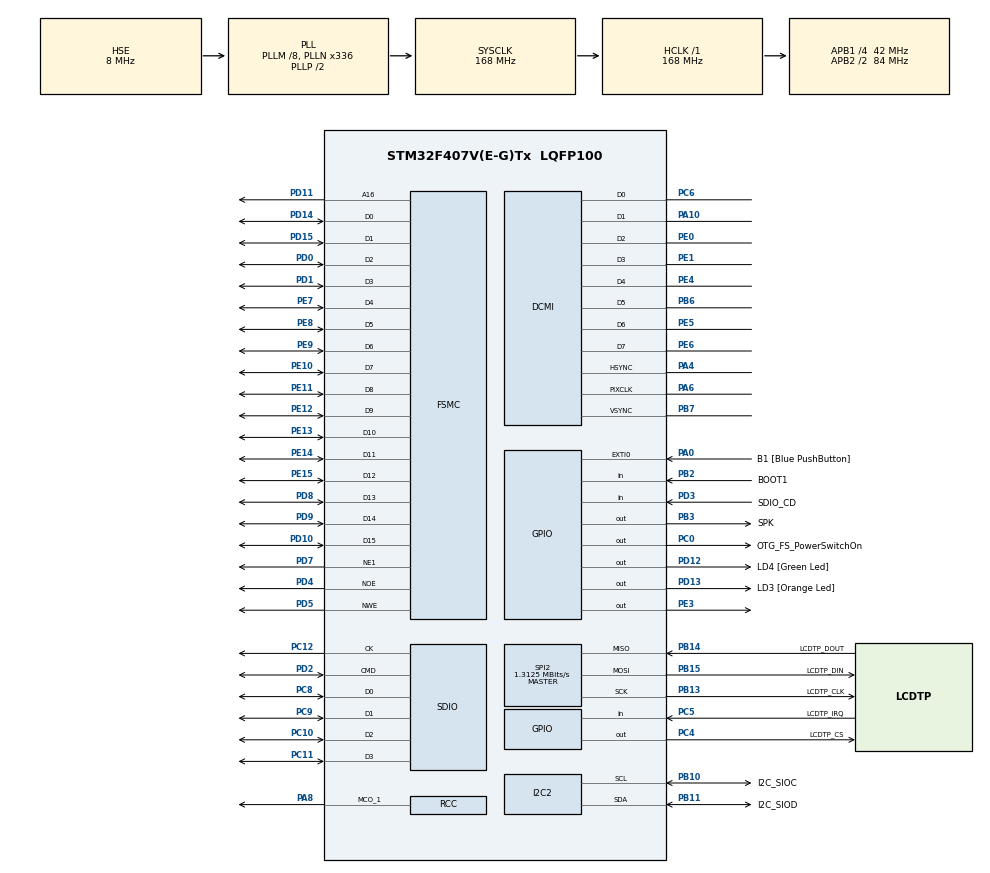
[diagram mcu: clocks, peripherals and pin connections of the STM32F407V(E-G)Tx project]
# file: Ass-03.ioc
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DCMI.HSPolarity=DCMI_HSPOLARITY_HIGH
DCMI.PCKPolarity=DCMI_PCKPOLARITY_FALLING
DCMI.VSPolarity=DCMI_VSPOLARITY_HIGH
Dma.DCMI.2.Direction=DMA_PERIPH_TO_MEMORY
Dma.DCMI.2.FIFOMode=DMA_FIFOMODE_ENABLE
Dma.DCMI.2.FIFOThreshold=DMA_FIFO_THRESHOLD_FULL
Dma.DCMI.2.Instance=DMA2_Stream1
Dma.DCMI.2.MemBurst=DMA_MBURST_SINGLE
Dma.DCMI.2.MemDataAlignment=DMA_MDATAALIGN_WORD
Dma.DCMI.2.MemInc=DMA_MINC_ENABLE
Dma.DCMI.2.Mode=DMA_NORMAL
Dma.DCMI.2.PeriphBurst=DMA_PBURST_SINGLE
Dma.DCMI.2.PeriphDataAlignment=DMA_PDATAALIGN_WORD
Dma.DCMI.2.PeriphInc=DMA_PINC_DISABLE
Dma.DCMI.2.Priority=DMA_PRIORITY_VERY_HIGH
Dma.Request0=SDIO_RX
Dma.Request1=SDIO_TX
Dma.Request2=DCMI
Dma.SDIO_RX.0.Direction=DMA_PERIPH_TO_MEMORY
Dma.SDIO_RX.0.FIFOMode=DMA_FIFOMODE_ENABLE
Dma.SDIO_RX.0.FIFOThreshold=DMA_FIFO_THRESHOLD_FULL
Dma.SDIO_RX.0.Instance=DMA2_Stream3
Dma.SDIO_RX.0.MemBurst=DMA_MBURST_INC4
Dma.SDIO_RX.0.MemDataAlignment=DMA_MDATAALIGN_WORD
Dma.SDIO_RX.0.MemInc=DMA_MINC_ENABLE
Dma.SDIO_RX.0.Mode=DMA_PFCTRL
Dma.SDIO_RX.0.PeriphBurst=DMA_PBURST_INC4
Dma.SDIO_RX.0.PeriphDataAlignment=DMA_PDATAALIGN_WORD
Dma.SDIO_RX.0.PeriphInc=DMA_PINC_DISABLE
Dma.SDIO_RX.0.Priority=DMA_PRIORITY_LOW
Dma.SDIO_TX.1.Direction=DMA_MEMORY_TO_PERIPH
Dma.SDIO_TX.1.FIFOMode=DMA_FIFOMODE_ENABLE
Dma.SDIO_TX.1.FIFOThreshold=DMA_FIFO_THRESHOLD_FULL
Dma.SDIO_TX.1.Instance=DMA2_Stream6
Dma.SDIO_TX.1.MemBurst=DMA_MBURST_INC4
Dma.SDIO_TX.1.MemDataAlignment=DMA_MDATAALIGN_WORD
Dma.SDIO_TX.1.MemInc=DMA_MINC_ENABLE
Dma.SDIO_TX.1.Mode=DMA_PFCTRL
Dma.SDIO_TX.1.PeriphBurst=DMA_PBURST_INC4
Dma.SDIO_TX.1.PeriphDataAlignment=DMA_PDATAALIGN_WORD
Dma.SDIO_TX.1.PeriphInc=DMA_PINC_DISABLE
Dma.SDIO_TX.1.Priority=DMA_PRIORITY_LOW
FATFS.BSP.number=1
FATFS._FS_LOCK=5
FATFS._USE_CHMOD=1
FATFS._USE_MUTEX=1
FATFS0.BSP.STBoard=false
FATFS0.BSP.api=Unknown
FATFS0.BSP.i2caddr=0
FATFS0.BSP.instance=PD3
FATFS0.BSP.ip=GPIO
FATFS0.BSP.mode=Input
FATFS0.BSP.name=Detect_SDIO
FATFS0.BSP.solution=PD3
FREERTOS.BinarySemaphores01=DCMILineComplete,Dynamic,NULL
FREERTOS.Mutexes01=SDIODCMIMutex,Dynamic,NULL;LCDMutex,Dynamic,NULL
FREERTOS.Tasks01=ControlTask,0,1024,StartControlTask,As weak,NULL,Dynamic,NULL,NULL;CameraTask,2,1024,StartCameraTask,As weak,NULL,Dynamic,NULL,NULL;LCDTask,1,1024,StartLCDTask,As weak,NULL,Dynamic,NULL,NULL;SDTask,2,1024,StartSDTask,As weak,NULL,Dynamic,NULL,NULL;TimeTask,1,1024,StartTimeTask,As weak,NULL,Dynamic,NULL,NULL;TPTask,2,1024,StartTPTask,As weak,NULL,Dynamic,NULL,NULL
FREERTOS.configTOTAL_HEAP_SIZE=32000
FREERTOS.configUSE_COUNTING_SEMAPHORES=1
FREERTOS.configUSE_TIMERS=1
FSMC.AddressSetupTime1=4
FSMC.BusTurnAroundDuration1=0
FSMC.DataSetupTime1=40
Mcu.Family=STM32F4
Mcu.Name=STM32F407V(E-G)Tx
Mcu.Package=LQFP100
NVIC.DCMI_IRQn=true\:5\:0\:false\:false\:true\:true\:true\:true
NVIC.DMA2_Stream1_IRQn=true\:5\:0\:false\:false\:true\:true\:false\:true
NVIC.DMA2_Stream3_IRQn=true\:5\:0\:false\:false\:true\:true\:false\:true
NVIC.DMA2_Stream6_IRQn=true\:5\:0\:false\:false\:true\:true\:false\:true
NVIC.PriorityGroup=NVIC_PRIORITYGROUP_4
NVIC.SDIO_IRQn=true\:5\:0\:false\:false\:true\:true\:true\:true
NVIC.SPI2_IRQn=true\:5\:0\:false\:false\:true\:true\:true\:true
NVIC.TIM1_UP_TIM10_IRQn=true\:0\:0\:false\:false\:true\:false\:false\:true
NVIC.TIM3_IRQn=true\:5\:0\:false\:false\:true\:true\:true\:true
NVIC.TimeBase=TIM1_UP_TIM10_IRQn
NVIC.TimeBaseIP=TIM1
PA0-WKUP.GPIO_Label=B1 [Blue PushButton]
PA0-WKUP.GPIO_ModeDefaultEXTI=GPIO_MODE_EVT_RISING
PA0-WKUP.GPIO_PuPd=GPIO_NOPULL
PA0-WKUP.Signal=GPXTI0
PA10.Mode=Slave_8_bits_External_Synchro
PA10.Signal=DCMI_D1
PA13.GPIO_Label=SWDIO
PA13.Signal=SYS_JTMS-SWDIO
PA14.GPIO_Label=SWCLK
PA14.Signal=SYS_JTCK-SWCLK
PA4.Mode=Slave_8_bits_External_Synchro
PA4.Signal=DCMI_HSYNC
PA5.GPIO_Label=SPI1_SCK [LIS302DL_SCL/SPC]
PA5.GPIO_Mode=GPIO_MODE_AF_PP
PA5.GPIO_PuPd=GPIO_NOPULL
PA5.GPIO_Speed=GPIO_SPEED_FREQ_LOW
PA5.Signal=SPI1_SCK
PA6.Mode=Slave_8_bits_External_Synchro
PA6.Signal=DCMI_PIXCLK
PA7.GPIO_Label=SPI1_MOSI [LIS302DL_SDA/SDI/SDO]
PA7.GPIO_Mode=GPIO_MODE_AF_PP
PA7.GPIO_PuPd=GPIO_NOPULL
PA7.GPIO_Speed=GPIO_SPEED_FREQ_LOW
PA7.Signal=SPI1_MOSI
PA8.Mode=Clock-out-1
PA8.Signal=RCC_MCO_1
PA9.GPIO_Label=VBUS_FS
PA9.GPIO_Mode=GPIO_MODE_INPUT
PA9.GPIO_PuPd=GPIO_NOPULL
PA9.Signal=USB_OTG_FS_VBUS
PB10.GPIO_Label=I2C_SIOC
PB10.GPIO_Speed=GPIO_SPEED_FREQ_LOW
PB10.Mode=I2C
PB10.Signal=I2C2_SCL
PB11.GPIO_Label=I2C_SIOD
PB11.GPIO_Speed=GPIO_SPEED_FREQ_LOW
PB11.Mode=I2C
PB11.Signal=I2C2_SDA
PB13.GPIO_Label=LCDTP_CLK
PB13.Mode=Full_Duplex_Master
PB13.Signal=SPI2_SCK
PB14.GPIO_Label=LCDTP_DOUT
PB14.Mode=Full_Duplex_Master
PB14.Signal=SPI2_MISO
PB15.GPIO_Label=LCDTP_DIN
PB15.Mode=Full_Duplex_Master
PB15.Signal=SPI2_MOSI
PB2.GPIO_Label=BOOT1
PB2.GPIO_Mode=GPIO_MODE_INPUT
PB2.GPIO_PuPd=GPIO_NOPULL
PB2.Signal=GPIO_Input
PB3.GPIO_Label=SPK
PB3.Signal=GPIO_Output
PB6.Mode=Slave_8_bits_External_Synchro
PB6.Signal=DCMI_D5
PB7.Mode=Slave_8_bits_External_Synchro
PB7.Signal=DCMI_VSYNC
PB9.GPIO_Label=Audio_SDA [CS43L22_SDA]
PB9.GPIO_Mode=GPIO_MODE_AF_OD
PB9.GPIO_PuPd=GPIO_NOPULL
PB9.GPIO_Speed=GPIO_SPEED_FREQ_LOW
PB9.Signal=I2C1_SDA
PC0.GPIO_Label=OTG_FS_PowerSwitchOn
PC0.GPIO_PuPd=GPIO_NOPULL
PC0.GPIO_Speed=GPIO_SPEED_FREQ_LOW
PC0.PinState=GPIO_PIN_SET
PC0.Signal=GPIO_Output
PC10.Mode=SD_4_bits_Wide_bus
PC10.Signal=SDIO_D2
PC11.Mode=SD_4_bits_Wide_bus
PC11.Signal=SDIO_D3
PC12.Mode=SD_4_bits_Wide_bus
PC12.Signal=SDIO_CK
PC14-OSC32_IN.GPIO_Label=PC14-OSC32_IN
PC14-OSC32_IN.Mode=LSE-External-Oscillator
PC14-OSC32_IN.Signal=RCC_OSC32_IN
PC15-OSC32_OUT.GPIO_Label=PC15-OSC32_OUT
PC15-OSC32_OUT.Mode=LSE-External-Oscillator
PC15-OSC32_OUT.Signal=RCC_OSC32_OUT
PC3.GPIO_Label=PDM_OUT [MP45DT02_DOUT]
PC3.GPIO_Mode=GPIO_MODE_AF_PP
PC3.GPIO_PuPd=GPIO_NOPULL
PC3.GPIO_Speed=GPIO_SPEED_FREQ_LOW
PC3.Signal=I2S2_SD
PC4.GPIO_Label=LCDTP_CS
PC4.GPIO_PuPd=GPIO_PULLDOWN
PC4.Signal=GPIO_Output
PC5.GPIO_Label=LCDTP_IRQ
PC5.Signal=GPIO_Input
PC6.Mode=Slave_8_bits_External_Synchro
PC6.Signal=DCMI_D0
PC8.Mode=SD_4_bits_Wide_bus
PC8.Signal=SDIO_D0
PC9.Mode=SD_4_bits_Wide_bus
PC9.Signal=SDIO_D1
PD0.Mode=16b-d1
PD0.Signal=FSMC_D2
PD1.Mode=16b-d1
PD1.Signal=FSMC_D3
PD10.Mode=16b-d1
PD10.Signal=FSMC_D15
PD11.Mode=A16_1
PD11.Signal=FSMC_A16
PD12.GPIO_Label=LD4 [Green Led]
PD12.GPIO_PuPd=GPIO_NOPULL
PD12.GPIO_Speed=GPIO_SPEED_FREQ_LOW
PD12.Signal=GPIO_Output
PD13.GPIO_Label=LD3 [Orange Led]
PD13.GPIO_PuPd=GPIO_NOPULL
PD13.GPIO_Speed=GPIO_SPEED_FREQ_LOW
PD13.Signal=GPIO_Output
PD14.Mode=16b-d1
PD14.Signal=FSMC_D0
PD15.Mode=16b-d1
PD15.Signal=FSMC_D1
PD2.Mode=SD_4_bits_Wide_bus
PD2.Signal=SDIO_CMD
PD3.GPIO_Label=SDIO_CD
PD3.GPIO_PuPd=GPIO_PULLUP
PD3.Signal=GPIO_Input
PD4.Mode=Lcd1
PD4.Signal=FSMC_NOE
PD5.Mode=Lcd1
PD5.Signal=FSMC_NWE
PD7.Mode=NorPsramChipSelect1_1
PD7.Signal=FSMC_NE1
PD8.Mode=16b-d1
PD8.Signal=FSMC_D13
PD9.Mode=16b-d1
PD9.Signal=FSMC_D14
PE0.Mode=Slave_8_bits_External_Synchro
PE0.Signal=DCMI_D2
PE1.Mode=Slave_8_bits_External_Synchro
PE1.Signal=DCMI_D3
PE10.Mode=16b-d1
PE10.Signal=FSMC_D7
PE11.Mode=16b-d1
PE11.Signal=FSMC_D8
PE12.Mode=16b-d1
PE12.Signal=FSMC_D9
PE13.Mode=16b-d1
PE13.Signal=FSMC_D10
PE14.Mode=16b-d1
PE14.Signal=FSMC_D11
PE15.Mode=16b-d1
PE15.Signal=FSMC_D12
PE3.Signal=GPIO_Output
PE4.Mode=Slave_8_bits_External_Synchro
PE4.Signal=DCMI_D4
PE5.Mode=Slave_8_bits_External_Synchro
PE5.Signal=DCMI_D6
PE6.Mode=Slave_8_bits_External_Synchro
PE6.Signal=DCMI_D7
PE7.Mode=16b-d1
PE7.Signal=FSMC_D4
PE8.Mode=16b-d1
PE8.Signal=FSMC_D5
PE9.Mode=16b-d1
PE9.Signal=FSMC_D6
PH0-OSC_IN.GPIO_Label=PH0-OSC_IN
PH0-OSC_IN.Mode=HSE-External-Oscillator
PH0-OSC_IN.Signal=RCC_OSC_IN
PH1-OSC_OUT.GPIO_Label=PH1-OSC_OUT
PH1-OSC_OUT.Mode=HSE-External-Oscillator
PH1-OSC_OUT.Signal=RCC_OSC_OUT
ProjectManager.HeapSize=0x4000
ProjectManager.StackSize=0x4000
ProjectManager.TargetToolchain=SW4STM32
RCC.48MHZClocksFreq_Value=48000000
RCC.AHBFreq_Value=168000000
RCC.APB1CLKDivider=RCC_HCLK_DIV4
RCC.APB1Freq_Value=42000000
RCC.APB1TimFreq_Value=84000000
RCC.APB2CLKDivider=RCC_HCLK_DIV2
RCC.APB2Freq_Value=84000000
RCC.APB2TimFreq_Value=168000000
RCC.CortexFreq_Value=168000000
RCC.HCLKFreq_Value=168000000
RCC.HSE_VALUE=8000000
RCC.HSI_VALUE=16000000
RCC.PLLM=8
RCC.PLLN=336
RCC.PLLQ=7
RCC.PLLSourceVirtual=RCC_PLLSOURCE_HSE
RCC.SYSCLKFreq_VALUE=168000000
RCC.SYSCLKSource=RCC_SYSCLKSOURCE_PLLCLK
RCC.VCOOutputFreq_Value=336000000
SDIO.ClockDiv=0
SPI2.BaudRatePrescaler=SPI_BAUDRATEPRESCALER_32
SPI2.CalculateBaudRate=1.3125 MBits/s
SPI2.Direction=SPI_DIRECTION_2LINES
SPI2.Mode=SPI_MODE_MASTER
SPI2.VirtualType=VM_MASTER
TIM3.Period=125
TIM3.Prescaler=16800-1
VP_FATFS_VS_SDIO.Mode=SDIO
VP_FREERTOS_VS_CMSIS_V1.Mode=CMSIS_V1
VP_SYS_VS_tim1.Mode=TIM1
VP_TIM3_VS_ClockSourceINT.Mode=Internal
board=STM32F407G-DISC1

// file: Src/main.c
/* USER CODE BEGIN Header */
/**
  ******************************************************************************
  * @file           : main.c
  * @brief          : Main program body
  ******************************************************************************
  * @attention
  *
  * <h2><center>&copy; Copyright (c) 2020 STMicroelectronics.
  * All rights reserved.</center></h2>
  *
  * This software component is licensed by ST under BSD 3-Clause license,
  * the "License"; You may not use this file except in compliance with the
  * License. You may obtain a copy of the License at:
  *                        opensource.org/licenses/BSD-3-Clause
  *
  ******************************************************************************
  */
/* USER CODE END Header */

#include "main.h"
#include "cmsis_os.h"
#include "dcmi.h"
#include "dma.h"
#include "fatfs.h"
#include "i2c.h"
#include "sdio.h"
#include "spi.h"
#include "tim.h"
#include "gpio.h"
#include "fsmc.h"

/* USER CODE BEGIN Includes */
#include "Ass-03.h"
// STEPIEN: Added for printf()
extern void initialise_monitor_handles(void);
/* USER CODE END Includes */

/* USER CODE BEGIN PV */
/* Private variables ---------------------------------------------------------*/
/* USER CODE END PV */

void SystemClock_Config(void);
void MX_FREERTOS_Init(void);
/* USER CODE BEGIN PFP */
/* Private function prototypes -----------------------------------------------*/

/* USER CODE END PFP */

int main(void)
{

  /* MCU Configuration--------------------------------------------------------*/

  /* Reset of all peripherals, Initializes the Flash interface and the Systick. */
  HAL_Init();

  /* USER CODE BEGIN Init */

  // STEPIEN: Added for printf()
  initialise_monitor_handles();

  // Welcome
  printf ("\n");
  printf ("%s\n", ASS_STRING);
  printf ("%s\n", VER_STRING);

  /* USER CODE END Init */

  /* Configure the system clock */
  SystemClock_Config();

  /* Initialize all configured peripherals */
  MX_GPIO_Init();
  MX_DMA_Init();
  MX_FSMC_Init();
  MX_I2C2_Init();
  MX_SDIO_SD_Init();
  MX_FATFS_Init();
  MX_DCMI_Init();
  MX_SPI2_Init();
  MX_TIM3_Init();
  /* USER CODE BEGIN 2 */

  // STEPIEN: Fix doubling up of two pins on the DCMI and SD card interfaces
  //
  // PC8: SDIO_D0 DCMI_D2 (PE0)
  // PC9: SDIO_D1 DCMI_D3 (PE1)
  //
  // CubeMX has configured these pins to be for the SD card, with the DCMI using the
  // pins listed in brackets. Need to be able to swap the pin functionality while
  // at the same time only have one device driving these lines.
  //
  // Start with the default configured state of camera connected and disable PE0 and PE2,
  // noting that the DCMI interface has not been set up. Enable the pins for the camera.

  HAL_GPIO_DeInit(GPIOE, GPIO_PIN_0|GPIO_PIN_1);
  Enable_Camera();

  // Note that hi2c2 I2C interface is used for configuration. Will need to disable the
  // interface so that the data lines are not driving when the SD card is being used and vice versa.
  // Initialise the camera device.

  Init_Camera();

  // MUTEX set up under RTOS to control access to these devices.
  // Have DCMI always connected and SD card takes control when required,
  // disabling the DCMI interface and setting up the SD card. Need to also
  // put back control to DCMI before releasing MUTEX. Need to ensure that
  // DMA transactions have finished first.

  // Initialise the LCD device

  BSP_LCD_Init ();
  BSP_LCD_Clear (LCD_COLOR_WHITE);
  BSP_LCD_DisplayOn ();

  // Initialise the touch panel interface

  BSP_TP_Init ();

  /* USER CODE END 2 */

  /* Call init function for freertos objects (in freertos.c) */
  MX_FREERTOS_Init();
  /* Start scheduler */
  osKernelStart();

  /* We should never get here as control is now taken by the scheduler */
  /* Infinite loop */
  while (1)
  {

  }
}

void SystemClock_Config(void)
{
  RCC_OscInitTypeDef RCC_OscInitStruct = {0};
  RCC_ClkInitTypeDef RCC_ClkInitStruct = {0};

  /** Configure the main internal regulator output voltage
  */
  __HAL_RCC_PWR_CLK_ENABLE();
  __HAL_PWR_VOLTAGESCALING_CONFIG(PWR_REGULATOR_VOLTAGE_SCALE1);
  /** Initializes the CPU, AHB and APB busses clocks
  */
  RCC_OscInitStruct.OscillatorType = RCC_OSCILLATORTYPE_HSI|RCC_OSCILLATORTYPE_HSE;
  RCC_OscInitStruct.HSEState = RCC_HSE_ON;
  RCC_OscInitStruct.HSIState = RCC_HSI_ON;
  RCC_OscInitStruct.HSICalibrationValue = RCC_HSICALIBRATION_DEFAULT;
  RCC_OscInitStruct.PLL.PLLState = RCC_PLL_ON;
  RCC_OscInitStruct.PLL.PLLSource = RCC_PLLSOURCE_HSE;
  RCC_OscInitStruct.PLL.PLLM = 8;
  RCC_OscInitStruct.PLL.PLLN = 336;
  RCC_OscInitStruct.PLL.PLLP = RCC_PLLP_DIV2;
  RCC_OscInitStruct.PLL.PLLQ = 7;
  if (HAL_RCC_OscConfig(&RCC_OscInitStruct) != HAL_OK)
  {
    Error_Handler();
  }
  /** Initializes the CPU, AHB and APB busses clocks
  */
  RCC_ClkInitStruct.ClockType = RCC_CLOCKTYPE_HCLK|RCC_CLOCKTYPE_SYSCLK
                              |RCC_CLOCKTYPE_PCLK1|RCC_CLOCKTYPE_PCLK2;
  RCC_ClkInitStruct.SYSCLKSource = RCC_SYSCLKSOURCE_PLLCLK;
  RCC_ClkInitStruct.AHBCLKDivider = RCC_SYSCLK_DIV1;
  RCC_ClkInitStruct.APB1CLKDivider = RCC_HCLK_DIV4;
  RCC_ClkInitStruct.APB2CLKDivider = RCC_HCLK_DIV2;

  if (HAL_RCC_ClockConfig(&RCC_ClkInitStruct, FLASH_LATENCY_5) != HAL_OK)
  {
    Error_Handler();
  }
  HAL_RCC_MCOConfig(RCC_MCO1, RCC_MCO1SOURCE_HSI, RCC_MCODIV_1);
}

 /**
  * @brief  Period elapsed callback in non blocking mode
  * @note   This function is called  when TIM1 interrupt took place, inside
  * HAL_TIM_IRQHandler(). It makes a direct call to HAL_IncTick() to increment
  * a global variable "uwTick" used as application time base.
  * @param  htim : TIM handle
  * @retval None
  */
void HAL_TIM_PeriodElapsedCallback(TIM_HandleTypeDef *htim)
{
  if (htim->Instance == TIM1) {
    HAL_IncTick();
  }
}

void Error_Handler(void)
{
  while(1)
  {
  }
}

/************************ (C) COPYRIGHT STMicroelectronics *****END OF FILE****/

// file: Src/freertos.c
/* USER CODE BEGIN Header */
/**
  ******************************************************************************
  * File Name          : freertos.c
  * Description        : Code for freertos applications
  ******************************************************************************
  * @attention
  *
  * <h2><center>&copy; Copyright (c) 2020 STMicroelectronics.
  * All rights reserved.</center></h2>
  *
  * This software component is licensed by ST under Ultimate Liberty license
  * SLA0044, the "License"; You may not use this file except in compliance with
  * the License. You may obtain a copy of the License at:
  *                             www.st.com/SLA0044
  *
  ******************************************************************************
  */
/* USER CODE END Header */

#include "FreeRTOS.h"
#include "task.h"
#include "main.h"
#include "cmsis_os.h"

/* USER CODE BEGIN Includes */

#include "Ass-03.h"

/* USER CODE END Includes */

osThreadId ControlTaskHandle;
osThreadId CameraTaskHandle;
osThreadId LCDTaskHandle;
osThreadId SDTaskHandle;
osThreadId TimeTaskHandle;
osThreadId TPTaskHandle;
osMutexId SDIODCMIMutexHandle;
osMutexId LCDMutexHandle;
osSemaphoreId DCMILineCompleteHandle;

void StartControlTask(void const * argument);
void StartCameraTask(void const * argument);
void StartLCDTask(void const * argument);
void StartSDTask(void const * argument);
void StartTimeTask(void const * argument);
void StartTPTask(void const * argument);

void MX_FREERTOS_Init(void); /* (MISRA C 2004 rule 8.1) */

/* GetIdleTaskMemory prototype (linked to static allocation support) */
void vApplicationGetIdleTaskMemory( StaticTask_t **ppxIdleTaskTCBBuffer, StackType_t **ppxIdleTaskStackBuffer, uint32_t *pulIdleTaskStackSize );

/* GetTimerTaskMemory prototype (linked to static allocation support) */
void vApplicationGetTimerTaskMemory( StaticTask_t **ppxTimerTaskTCBBuffer, StackType_t **ppxTimerTaskStackBuffer, uint32_t *pulTimerTaskStackSize );

/* USER CODE BEGIN GET_IDLE_TASK_MEMORY */
static StaticTask_t xIdleTaskTCBBuffer;
static StackType_t xIdleStack[configMINIMAL_STACK_SIZE];

void vApplicationGetIdleTaskMemory( StaticTask_t **ppxIdleTaskTCBBuffer, StackType_t **ppxIdleTaskStackBuffer, uint32_t *pulIdleTaskStackSize )
{
  *ppxIdleTaskTCBBuffer = &xIdleTaskTCBBuffer;
  *ppxIdleTaskStackBuffer = &xIdleStack[0];
  *pulIdleTaskStackSize = configMINIMAL_STACK_SIZE;
  /* place for user code */
}
/* USER CODE END GET_IDLE_TASK_MEMORY */

/* USER CODE BEGIN GET_TIMER_TASK_MEMORY */
static StaticTask_t xTimerTaskTCBBuffer;
static StackType_t xTimerStack[configTIMER_TASK_STACK_DEPTH];

void vApplicationGetTimerTaskMemory( StaticTask_t **ppxTimerTaskTCBBuffer, StackType_t **ppxTimerTaskStackBuffer, uint32_t *pulTimerTaskStackSize )
{
  *ppxTimerTaskTCBBuffer = &xTimerTaskTCBBuffer;
  *ppxTimerTaskStackBuffer = &xTimerStack[0];
  *pulTimerTaskStackSize = configTIMER_TASK_STACK_DEPTH;
  /* place for user code */
}
/* USER CODE END GET_TIMER_TASK_MEMORY */

void MX_FREERTOS_Init(void) {
  /* Create the mutex(es) */
  /* definition and creation of SDIODCMIMutex */
  osMutexDef(SDIODCMIMutex);
  SDIODCMIMutexHandle = osMutexCreate(osMutex(SDIODCMIMutex));

  /* definition and creation of LCDMutex */
  osMutexDef(LCDMutex);
  LCDMutexHandle = osMutexCreate(osMutex(LCDMutex));

  /* Create the semaphores(s) */
  /* definition and creation of DCMILineComplete */
  osSemaphoreDef(DCMILineComplete);
  DCMILineCompleteHandle = osSemaphoreCreate(osSemaphore(DCMILineComplete), 1);

  /* USER CODE BEGIN RTOS_SEMAPHORES */
  // STEPIEN: Semaphore starts with resource available, so do a wait first to make resource unavailable
  osSemaphoreWait(DCMILineCompleteHandle,osWaitForever);
  /* USER CODE END RTOS_SEMAPHORES */

  /* USER CODE BEGIN RTOS_QUEUES */

  // STEPIEN: Need to add mail queues manually
  // STEPIEN: Initialise them in the modules to keep structures local
  InitLCDTaskMailQueue();
  // InitTPTaskMailQueue();

  /* USER CODE END RTOS_QUEUES */

  /* Create the thread(s) */
  /* definition and creation of ControlTask */
  osThreadDef(ControlTask, StartControlTask, osPriorityNormal, 0, 1024);
  ControlTaskHandle = osThreadCreate(osThread(ControlTask), NULL);

  /* definition and creation of CameraTask */
  osThreadDef(CameraTask, StartCameraTask, osPriorityHigh, 0, 1024);
  CameraTaskHandle = osThreadCreate(osThread(CameraTask), NULL);

  /* definition and creation of LCDTask */
  osThreadDef(LCDTask, StartLCDTask, osPriorityAboveNormal, 0, 1024);
  LCDTaskHandle = osThreadCreate(osThread(LCDTask), NULL);

  /* definition and creation of SDTask */
  osThreadDef(SDTask, StartSDTask, osPriorityHigh, 0, 1024);
  SDTaskHandle = osThreadCreate(osThread(SDTask), NULL);

  /* definition and creation of TimeTask */
  osThreadDef(TimeTask, StartTimeTask, osPriorityAboveNormal, 0, 1024);
  TimeTaskHandle = osThreadCreate(osThread(TimeTask), NULL);

  /* definition and creation of TPTask */
  osThreadDef(TPTask, StartTPTask, osPriorityNormal, 0, 1024);
  TPTaskHandle = osThreadCreate(osThread(TPTask), NULL);

}

__weak void StartControlTask(void const * argument)
{
  for(;;)
  {
    osDelay(1);
  }
}

__weak void StartCameraTask(void const * argument)
{
  for(;;)
  {
    osDelay(1);
  }
}

__weak void StartLCDTask(void const * argument)
{
  for(;;)
  {
    osDelay(1);
  }
}

__weak void StartSDTask(void const * argument)
{
  for(;;)
  {
    osDelay(1);
  }
}

__weak void StartTimeTask(void const * argument)
{
  for(;;)
  {
    osDelay(1);
  }
}

__weak void StartTPTask(void const * argument)
{
  for(;;)
  {
    osDelay(1);
  }
}

/************************ (C) COPYRIGHT STMicroelectronics *****END OF FILE****/
